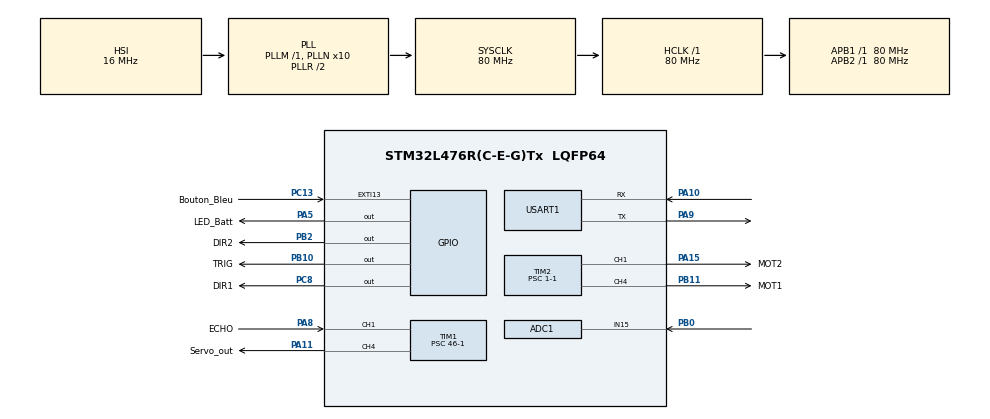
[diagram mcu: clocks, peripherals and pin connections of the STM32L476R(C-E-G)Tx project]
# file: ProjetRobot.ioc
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ADC1.AWD1HighThreshold=3723
ADC1.AWD1ITMode=ENABLE
ADC1.Channel-0\#ChannelRegularConversion=ADC_CHANNEL_15
ADC1.EnableAnalogWatchDog1=true
ADC1.NbrOfConversionFlag=1
ADC1.OffsetNumber-0\#ChannelRegularConversion=ADC_OFFSET_NONE
ADC1.Rank-0\#ChannelRegularConversion=1
ADC1.SamplingTime-0\#ChannelRegularConversion=ADC_SAMPLETIME_2CYCLES_5
ADC1.WatchdogChannel=ADC_CHANNEL_15
ADC1.master=1
Mcu.Family=STM32L4
Mcu.Name=STM32L476R(C-E-G)Tx
Mcu.Package=LQFP64
NVIC.ADC1_2_IRQn=true\:0\:0\:false\:false\:true\:true\:true\:true
NVIC.EXTI15_10_IRQn=true\:0\:0\:false\:false\:true\:true\:true\:true
NVIC.PriorityGroup=NVIC_PRIORITYGROUP_4
NVIC.TIM1_CC_IRQn=true\:0\:0\:false\:false\:true\:true\:true\:true
NVIC.TIM5_IRQn=true\:0\:0\:false\:false\:true\:true\:true\:true
NVIC.TIM6_DAC_IRQn=true\:0\:0\:false\:false\:true\:true\:true\:true
NVIC.TIM7_IRQn=true\:0\:0\:false\:false\:true\:true\:true\:true
NVIC.USART1_IRQn=true\:0\:0\:false\:false\:true\:true\:true\:true
PA10.Mode=Asynchronous
PA10.Signal=USART1_RX
PA11.GPIO_Label=Servo_out
PA11.Signal=S_TIM1_CH4
PA13\ (JTMS-SWDIO).GPIO_Label=TMS
PA13\ (JTMS-SWDIO).Mode=Serial_Wire
PA13\ (JTMS-SWDIO).Signal=SYS_JTMS-SWDIO
PA14\ (JTCK-SWCLK).GPIO_Label=TCK
PA14\ (JTCK-SWCLK).Mode=Serial_Wire
PA14\ (JTCK-SWCLK).Signal=SYS_JTCK-SWCLK
PA15\ (JTDI).GPIO_Label=MOT2
PA15\ (JTDI).Signal=S_TIM2_CH1
PA5.GPIO_Label=LED_Batt
PA5.Signal=GPIO_Output
PA8.GPIO_Label=ECHO
PA8.Signal=S_TIM1_CH1
PA9.Mode=Asynchronous
PA9.Signal=USART1_TX
PB0.Signal=ADCx_IN15
PB10.GPIO_Label=TRIG
PB10.Signal=GPIO_Output
PB11.GPIO_Label=MOT1
PB11.Signal=S_TIM2_CH4
PB15.GPIO_Label=Tension_Batt
PB15.Signal=GPXTI15
PB2.GPIO_Label=DIR2
PB2.Signal=GPIO_Output
PB3\ (JTDO-TRACESWO).GPIO_Label=SWO
PB3\ (JTDO-TRACESWO).Signal=SYS_JTDO-SWO
PC13.GPIO_Label=Bouton_Bleu
PC13.Signal=GPXTI13
PC14-OSC32_IN\ (PC14).Mode=LSE-External-Oscillator
PC14-OSC32_IN\ (PC14).Signal=RCC_OSC32_IN
PC15-OSC32_OUT\ (PC15).Mode=LSE-External-Oscillator
PC15-OSC32_OUT\ (PC15).Signal=RCC_OSC32_OUT
PC8.GPIO_Label=DIR1
PC8.Signal=GPIO_Output
ProjectManager.HeapSize=0x200
ProjectManager.StackSize=0x400
ProjectManager.TargetToolchain=STM32CubeIDE
RCC.ADCFreq_Value=64000000
RCC.AHBFreq_Value=80000000
RCC.APB1Freq_Value=80000000
RCC.APB1TimFreq_Value=80000000
RCC.APB2Freq_Value=80000000
RCC.APB2TimFreq_Value=80000000
RCC.CortexFreq_Value=80000000
RCC.HCLKFreq_Value=80000000
RCC.HSE_VALUE=8000000
RCC.HSI_VALUE=16000000
RCC.MSI_VALUE=4000000
RCC.PLLN=10
RCC.PLLSourceVirtual=RCC_PLLSOURCE_HSI
RCC.PREFETCH_ENABLE=1
RCC.SYSCLKFreq_VALUE=80000000
RCC.SYSCLKSource=RCC_SYSCLKSOURCE_PLLCLK
RCC.USBFreq_Value=64000000
RCC.VCOOutputFreq_Value=160000000
SH.ADCx_IN15.0=ADC1_IN15,IN15-Single-Ended
SH.S_TIM1_CH1.0=TIM1_CH1,PWM_Input_1
SH.S_TIM1_CH4.0=TIM1_CH4,PWM Generation4 CH4
SH.S_TIM2_CH1.0=TIM2_CH1,PWM Generation1 CH1
SH.S_TIM2_CH4.0=TIM2_CH4,PWM Generation4 CH4
TIM1.Channel-PWM\ Generation4\ CH4=TIM_CHANNEL_4
TIM1.Period=0xFFFF
TIM1.Prescaler=46-1
TIM2.Channel-PWM\ Generation1\ CH1=TIM_CHANNEL_1
TIM2.Channel-PWM\ Generation4\ CH4=TIM_CHANNEL_4
TIM2.Period=20000
TIM2.Prescaler=1-1
TIM5.Period=999
TIM5.Prescaler=8000-1
TIM7.Period=40000
TIM7.Prescaler=2-1
USART1.VirtualMode-Asynchronous=VM_ASYNC
VP_TIM1_VS_ClockSourceINT.Mode=Internal
VP_TIM2_VS_ClockSourceINT.Mode=Internal
VP_TIM5_VS_ClockSourceINT.Mode=Internal
VP_TIM6_VS_ClockSourceINT.Mode=Enable_Timer
VP_TIM7_VS_ClockSourceINT.Mode=Enable_Timer
board=NUCLEO-L476RG

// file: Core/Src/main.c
/* USER CODE BEGIN Header */
/**
  ******************************************************************************
  * @file           : main.c
  * @brief          : Main program body
  ******************************************************************************
  * @attention
  *
  * Copyright (c) 2024 STMicroelectronics.
  * All rights reserved.
  *
  * This software is licensed under terms that can be found in the LICENSE file
  * in the root directory of this software component.
  * If no LICENSE file comes with this software, it is provided AS-IS.
  *
  ******************************************************************************
  */
/* USER CODE END Header */
#include "main.h"

/* USER CODE BEGIN Includes */
#include "math.h"
#include "stdlib.h"
/* USER CODE END Includes */

/* USER CODE BEGIN PTD */
typedef enum {
    ETAT_ATTENTE,
    ETAT_BALAYAGE,
    ETAT_CALIBRAGE,
    ETAT_AVANCER,
    ETAT_ARRET
} Etat;
/* USER CODE END PTD */

/* USER CODE BEGIN PD */
#define DEBOUNCE_DELAY 200
/* USER CODE END PD */

ADC_HandleTypeDef hadc1;

TIM_HandleTypeDef htim1;
TIM_HandleTypeDef htim2;
TIM_HandleTypeDef htim5;
TIM_HandleTypeDef htim6;
TIM_HandleTypeDef htim7;

UART_HandleTypeDef huart1;

/* USER CODE BEGIN PV */
int balayage; // permet de faire le balayage du sonar
int x;
int y;
int y_min;
int calibrage; // permet de faire le calibrage roues / sonar
int c_calib = 0; // Compteur de périodes pour le calibrage des roues
int avance;
Etat etat_actuel = ETAT_ATTENTE;
uint32_t distance ;
uint32_t distance_min = 1000;
uint32_t valeur_sonar;
uint32_t pulse_length;
uint32_t T_Batt = 0;
volatile uint8_t Start_value = 0;
int debounce_flag;
int debounce_time;
uint16_t V_batt;
/* USER CODE END PV */

void SystemClock_Config(void);
static void MX_GPIO_Init(void);
static void MX_TIM2_Init(void);
static void MX_TIM1_Init(void);
static void MX_TIM5_Init(void);
static void MX_ADC1_Init(void);
static void MX_TIM6_Init(void);
static void MX_TIM7_Init(void);
static void MX_USART1_UART_Init(void);
/* USER CODE BEGIN PFP */
void SetServoPosition(TIM_HandleTypeDef *htim, uint32_t Channel, int angle);
void Tourner(char direction);
void CommandeMoteur(int percent);
void Avancer(int percent);
int PtToDeg(int x);
void GererEtat();
void check_button_state();
/* USER CODE END PFP */

int main(void)
{

  /* MCU Configuration--------------------------------------------------------*/

  /* Reset of all peripherals, Initializes the Flash interface and the Systick. */
  HAL_Init();

  /* Configure the system clock */
  SystemClock_Config();

  /* Initialize all configured peripherals */
  MX_GPIO_Init();
  MX_TIM2_Init();
  MX_TIM1_Init();
  MX_TIM5_Init();
  MX_ADC1_Init();
  MX_TIM6_Init();
  MX_TIM7_Init();
  MX_USART1_UART_Init();
  /* USER CODE BEGIN 2 */
  balayage = 0;
  calibrage = 0;
  avance = 0;
  x = 1703;

  // Pour le SONAR
  HAL_TIM_Base_Start_IT(&htim1);
  HAL_TIM_IC_Start_IT(&htim1, TIM_CHANNEL_2); // Reception
  HAL_GPIO_WritePin(TRIG_GPIO_Port, TRIG_Pin , GPIO_PIN_SET); //Emission du SONAR
  HAL_TIM_PWM_Start(&htim1, TIM_CHANNEL_4); // Servomoteur

  // On remet le servo moteur à 0°
  __HAL_TIM_SET_COMPARE(&htim1, TIM_CHANNEL_4, 2556);

  CommandeMoteur(0);

  // Pour les chenilles
  HAL_TIM_Base_Start(&htim2);
  HAL_TIM_PWM_Start(&htim2, TIM_CHANNEL_1);
  HAL_TIM_PWM_Start(&htim2, TIM_CHANNEL_4);

  //Pour le balayage
  HAL_TIM_Base_Start_IT(&htim5);

  //Pour le calibrage
  HAL_TIM_Base_Start_IT(&htim7);

  /* USER CODE END 2 */

  /* Infinite loop */
  /* USER CODE BEGIN WHILE */
	while (1)
	{
	   if (Start_value){
		   if (T_Batt >= 500){
			   HAL_GPIO_WritePin(LED_Batt_GPIO_Port, LED_Batt_Pin, GPIO_PIN_RESET);
			   HAL_ADC_Start(&hadc1);
			   HAL_ADC_PollForConversion(&hadc1, HAL_MAX_DELAY);
			   V_batt = (HAL_ADC_GetValue(&hadc1)*3.3)/4095;
			   T_Batt = 0;

		   }
		else{
			CommandeMoteur(0);
		}
		GererEtat();

	   }
    /* USER CODE END WHILE */

	}
}

void SystemClock_Config(void)
{
  RCC_OscInitTypeDef RCC_OscInitStruct = {0};
  RCC_ClkInitTypeDef RCC_ClkInitStruct = {0};

  /** Configure the main internal regulator output voltage
  */
  if (HAL_PWREx_ControlVoltageScaling(PWR_REGULATOR_VOLTAGE_SCALE1) != HAL_OK)
  {
    Error_Handler();
  }

  /** Initializes the RCC Oscillators according to the specified parameters
  * in the RCC_OscInitTypeDef structure.
  */
  RCC_OscInitStruct.OscillatorType = RCC_OSCILLATORTYPE_HSI;
  RCC_OscInitStruct.HSIState = RCC_HSI_ON;
  RCC_OscInitStruct.HSICalibrationValue = RCC_HSICALIBRATION_DEFAULT;
  RCC_OscInitStruct.PLL.PLLState = RCC_PLL_ON;
  RCC_OscInitStruct.PLL.PLLSource = RCC_PLLSOURCE_HSI;
  RCC_OscInitStruct.PLL.PLLM = 1;
  RCC_OscInitStruct.PLL.PLLN = 10;
  RCC_OscInitStruct.PLL.PLLP = RCC_PLLP_DIV7;
  RCC_OscInitStruct.PLL.PLLQ = RCC_PLLQ_DIV2;
  RCC_OscInitStruct.PLL.PLLR = RCC_PLLR_DIV2;
  if (HAL_RCC_OscConfig(&RCC_OscInitStruct) != HAL_OK)
  {
    Error_Handler();
  }

  /** Initializes the CPU, AHB and APB buses clocks
  */
  RCC_ClkInitStruct.ClockType = RCC_CLOCKTYPE_HCLK|RCC_CLOCKTYPE_SYSCLK
                              |RCC_CLOCKTYPE_PCLK1|RCC_CLOCKTYPE_PCLK2;
  RCC_ClkInitStruct.SYSCLKSource = RCC_SYSCLKSOURCE_PLLCLK;
  RCC_ClkInitStruct.AHBCLKDivider = RCC_SYSCLK_DIV1;
  RCC_ClkInitStruct.APB1CLKDivider = RCC_HCLK_DIV1;
  RCC_ClkInitStruct.APB2CLKDivider = RCC_HCLK_DIV1;

  if (HAL_RCC_ClockConfig(&RCC_ClkInitStruct, FLASH_LATENCY_4) != HAL_OK)
  {
    Error_Handler();
  }
}

static void MX_ADC1_Init(void)
{

  ADC_MultiModeTypeDef multimode = {0};
  ADC_AnalogWDGConfTypeDef AnalogWDGConfig = {0};
  ADC_ChannelConfTypeDef sConfig = {0};

  /** Common config
  */
  hadc1.Instance = ADC1;
  hadc1.Init.ClockPrescaler = ADC_CLOCK_ASYNC_DIV1;
  hadc1.Init.Resolution = ADC_RESOLUTION_12B;
  hadc1.Init.DataAlign = ADC_DATAALIGN_RIGHT;
  hadc1.Init.ScanConvMode = ADC_SCAN_DISABLE;
  hadc1.Init.EOCSelection = ADC_EOC_SINGLE_CONV;
  hadc1.Init.LowPowerAutoWait = DISABLE;
  hadc1.Init.ContinuousConvMode = DISABLE;
  hadc1.Init.NbrOfConversion = 1;
  hadc1.Init.DiscontinuousConvMode = DISABLE;
  hadc1.Init.ExternalTrigConv = ADC_SOFTWARE_START;
  hadc1.Init.ExternalTrigConvEdge = ADC_EXTERNALTRIGCONVEDGE_NONE;
  hadc1.Init.DMAContinuousRequests = DISABLE;
  hadc1.Init.Overrun = ADC_OVR_DATA_PRESERVED;
  hadc1.Init.OversamplingMode = DISABLE;
  if (HAL_ADC_Init(&hadc1) != HAL_OK)
  {
    Error_Handler();
  }

  /** Configure the ADC multi-mode
  */
  multimode.Mode = ADC_MODE_INDEPENDENT;
  if (HAL_ADCEx_MultiModeConfigChannel(&hadc1, &multimode) != HAL_OK)
  {
    Error_Handler();
  }

  /** Configure Analog WatchDog 1
  */
  AnalogWDGConfig.WatchdogNumber = ADC_ANALOGWATCHDOG_1;
  AnalogWDGConfig.WatchdogMode = ADC_ANALOGWATCHDOG_SINGLE_REG;
  AnalogWDGConfig.Channel = ADC_CHANNEL_15;
  AnalogWDGConfig.ITMode = ENABLE;
  AnalogWDGConfig.HighThreshold = 3723;
  AnalogWDGConfig.LowThreshold = 0;
  if (HAL_ADC_AnalogWDGConfig(&hadc1, &AnalogWDGConfig) != HAL_OK)
  {
    Error_Handler();
  }

  /** Configure Regular Channel
  */
  sConfig.Channel = ADC_CHANNEL_15;
  sConfig.Rank = ADC_REGULAR_RANK_1;
  sConfig.SamplingTime = ADC_SAMPLETIME_2CYCLES_5;
  sConfig.SingleDiff = ADC_SINGLE_ENDED;
  sConfig.OffsetNumber = ADC_OFFSET_NONE;
  sConfig.Offset = 0;
  if (HAL_ADC_ConfigChannel(&hadc1, &sConfig) != HAL_OK)
  {
    Error_Handler();
  }

}

static void MX_TIM1_Init(void)
{

  TIM_ClockConfigTypeDef sClockSourceConfig = {0};
  TIM_SlaveConfigTypeDef sSlaveConfig = {0};
  TIM_IC_InitTypeDef sConfigIC = {0};
  TIM_MasterConfigTypeDef sMasterConfig = {0};
  TIM_OC_InitTypeDef sConfigOC = {0};
  TIM_BreakDeadTimeConfigTypeDef sBreakDeadTimeConfig = {0};

  htim1.Instance = TIM1;
  htim1.Init.Prescaler = 46-1;
  htim1.Init.CounterMode = TIM_COUNTERMODE_UP;
  htim1.Init.Period = 0xFFFF;
  htim1.Init.ClockDivision = TIM_CLOCKDIVISION_DIV1;
  htim1.Init.RepetitionCounter = 0;
  htim1.Init.AutoReloadPreload = TIM_AUTORELOAD_PRELOAD_DISABLE;
  if (HAL_TIM_Base_Init(&htim1) != HAL_OK)
  {
    Error_Handler();
  }
  sClockSourceConfig.ClockSource = TIM_CLOCKSOURCE_INTERNAL;
  if (HAL_TIM_ConfigClockSource(&htim1, &sClockSourceConfig) != HAL_OK)
  {
    Error_Handler();
  }
  if (HAL_TIM_PWM_Init(&htim1) != HAL_OK)
  {
    Error_Handler();
  }
  if (HAL_TIM_IC_Init(&htim1) != HAL_OK)
  {
    Error_Handler();
  }
  sSlaveConfig.SlaveMode = TIM_SLAVEMODE_RESET;
  sSlaveConfig.InputTrigger = TIM_TS_TI1FP1;
  sSlaveConfig.TriggerPolarity = TIM_INPUTCHANNELPOLARITY_RISING;
  sSlaveConfig.TriggerPrescaler = TIM_ICPSC_DIV1;
  sSlaveConfig.TriggerFilter = 0;
  if (HAL_TIM_SlaveConfigSynchro(&htim1, &sSlaveConfig) != HAL_OK)
  {
    Error_Handler();
  }
  sConfigIC.ICPolarity = TIM_INPUTCHANNELPOLARITY_RISING;
  sConfigIC.ICSelection = TIM_ICSELECTION_DIRECTTI;
  sConfigIC.ICPrescaler = TIM_ICPSC_DIV1;
  sConfigIC.ICFilter = 0;
  if (HAL_TIM_IC_ConfigChannel(&htim1, &sConfigIC, TIM_CHANNEL_1) != HAL_OK)
  {
    Error_Handler();
  }
  sConfigIC.ICPolarity = TIM_INPUTCHANNELPOLARITY_FALLING;
  sConfigIC.ICSelection = TIM_ICSELECTION_INDIRECTTI;
  if (HAL_TIM_IC_ConfigChannel(&htim1, &sConfigIC, TIM_CHANNEL_2) != HAL_OK)
  {
    Error_Handler();
  }
  sMasterConfig.MasterOutputTrigger = TIM_TRGO_RESET;
  sMasterConfig.MasterOutputTrigger2 = TIM_TRGO2_RESET;
  sMasterConfig.MasterSlaveMode = TIM_MASTERSLAVEMODE_DISABLE;
  if (HAL_TIMEx_MasterConfigSynchronization(&htim1, &sMasterConfig) != HAL_OK)
  {
    Error_Handler();
  }
  sConfigOC.OCMode = TIM_OCMODE_PWM1;
  sConfigOC.Pulse = 0;
  sConfigOC.OCPolarity = TIM_OCPOLARITY_HIGH;
  sConfigOC.OCFastMode = TIM_OCFAST_DISABLE;
  sConfigOC.OCIdleState = TIM_OCIDLESTATE_RESET;
  sConfigOC.OCNIdleState = TIM_OCNIDLESTATE_RESET;
  if (HAL_TIM_PWM_ConfigChannel(&htim1, &sConfigOC, TIM_CHANNEL_4) != HAL_OK)
  {
    Error_Handler();
  }
  sBreakDeadTimeConfig.OffStateRunMode = TIM_OSSR_DISABLE;
  sBreakDeadTimeConfig.OffStateIDLEMode = TIM_OSSI_DISABLE;
  sBreakDeadTimeConfig.LockLevel = TIM_LOCKLEVEL_OFF;
  sBreakDeadTimeConfig.DeadTime = 0;
  sBreakDeadTimeConfig.BreakState = TIM_BREAK_DISABLE;
  sBreakDeadTimeConfig.BreakPolarity = TIM_BREAKPOLARITY_HIGH;
  sBreakDeadTimeConfig.BreakFilter = 0;
  sBreakDeadTimeConfig.Break2State = TIM_BREAK2_DISABLE;
  sBreakDeadTimeConfig.Break2Polarity = TIM_BREAK2POLARITY_HIGH;
  sBreakDeadTimeConfig.Break2Filter = 0;
  sBreakDeadTimeConfig.AutomaticOutput = TIM_AUTOMATICOUTPUT_DISABLE;
  if (HAL_TIMEx_ConfigBreakDeadTime(&htim1, &sBreakDeadTimeConfig) != HAL_OK)
  {
    Error_Handler();
  }
  HAL_TIM_MspPostInit(&htim1);

}

static void MX_TIM2_Init(void)
{

  TIM_ClockConfigTypeDef sClockSourceConfig = {0};
  TIM_MasterConfigTypeDef sMasterConfig = {0};
  TIM_OC_InitTypeDef sConfigOC = {0};

  htim2.Instance = TIM2;
  htim2.Init.Prescaler = 1-1;
  htim2.Init.CounterMode = TIM_COUNTERMODE_UP;
  htim2.Init.Period = 20000;
  htim2.Init.ClockDivision = TIM_CLOCKDIVISION_DIV1;
  htim2.Init.AutoReloadPreload = TIM_AUTORELOAD_PRELOAD_DISABLE;
  if (HAL_TIM_Base_Init(&htim2) != HAL_OK)
  {
    Error_Handler();
  }
  sClockSourceConfig.ClockSource = TIM_CLOCKSOURCE_INTERNAL;
  if (HAL_TIM_ConfigClockSource(&htim2, &sClockSourceConfig) != HAL_OK)
  {
    Error_Handler();
  }
  if (HAL_TIM_PWM_Init(&htim2) != HAL_OK)
  {
    Error_Handler();
  }
  sMasterConfig.MasterOutputTrigger = TIM_TRGO_RESET;
  sMasterConfig.MasterSlaveMode = TIM_MASTERSLAVEMODE_DISABLE;
  if (HAL_TIMEx_MasterConfigSynchronization(&htim2, &sMasterConfig) != HAL_OK)
  {
    Error_Handler();
  }
  sConfigOC.OCMode = TIM_OCMODE_PWM1;
  sConfigOC.Pulse = 0;
  sConfigOC.OCPolarity = TIM_OCPOLARITY_HIGH;
  sConfigOC.OCFastMode = TIM_OCFAST_DISABLE;
  if (HAL_TIM_PWM_ConfigChannel(&htim2, &sConfigOC, TIM_CHANNEL_1) != HAL_OK)
  {
    Error_Handler();
  }
  if (HAL_TIM_PWM_ConfigChannel(&htim2, &sConfigOC, TIM_CHANNEL_4) != HAL_OK)
  {
    Error_Handler();
  }
  HAL_TIM_MspPostInit(&htim2);

}

static void MX_TIM5_Init(void)
{

  TIM_ClockConfigTypeDef sClockSourceConfig = {0};
  TIM_MasterConfigTypeDef sMasterConfig = {0};

  htim5.Instance = TIM5;
  htim5.Init.Prescaler = 8000-1;
  htim5.Init.CounterMode = TIM_COUNTERMODE_UP;
  htim5.Init.Period = 999;
  htim5.Init.ClockDivision = TIM_CLOCKDIVISION_DIV1;
  htim5.Init.AutoReloadPreload = TIM_AUTORELOAD_PRELOAD_DISABLE;
  if (HAL_TIM_Base_Init(&htim5) != HAL_OK)
  {
    Error_Handler();
  }
  sClockSourceConfig.ClockSource = TIM_CLOCKSOURCE_INTERNAL;
  if (HAL_TIM_ConfigClockSource(&htim5, &sClockSourceConfig) != HAL_OK)
  {
    Error_Handler();
  }
  sMasterConfig.MasterOutputTrigger = TIM_TRGO_RESET;
  sMasterConfig.MasterSlaveMode = TIM_MASTERSLAVEMODE_DISABLE;
  if (HAL_TIMEx_MasterConfigSynchronization(&htim5, &sMasterConfig) != HAL_OK)
  {
    Error_Handler();
  }

}

static void MX_TIM6_Init(void)
{

  TIM_MasterConfigTypeDef sMasterConfig = {0};

  htim6.Instance = TIM6;
  htim6.Init.Prescaler = 0;
  htim6.Init.CounterMode = TIM_COUNTERMODE_UP;
  htim6.Init.Period = 65535;
  htim6.Init.AutoReloadPreload = TIM_AUTORELOAD_PRELOAD_DISABLE;
  if (HAL_TIM_Base_Init(&htim6) != HAL_OK)
  {
    Error_Handler();
  }
  sMasterConfig.MasterOutputTrigger = TIM_TRGO_RESET;
  sMasterConfig.MasterSlaveMode = TIM_MASTERSLAVEMODE_DISABLE;
  if (HAL_TIMEx_MasterConfigSynchronization(&htim6, &sMasterConfig) != HAL_OK)
  {
    Error_Handler();
  }

}

static void MX_TIM7_Init(void)
{

  TIM_MasterConfigTypeDef sMasterConfig = {0};

  htim7.Instance = TIM7;
  htim7.Init.Prescaler = 2-1;
  htim7.Init.CounterMode = TIM_COUNTERMODE_UP;
  htim7.Init.Period = 40000;
  htim7.Init.AutoReloadPreload = TIM_AUTORELOAD_PRELOAD_DISABLE;
  if (HAL_TIM_Base_Init(&htim7) != HAL_OK)
  {
    Error_Handler();
  }
  sMasterConfig.MasterOutputTrigger = TIM_TRGO_RESET;
  sMasterConfig.MasterSlaveMode = TIM_MASTERSLAVEMODE_DISABLE;
  if (HAL_TIMEx_MasterConfigSynchronization(&htim7, &sMasterConfig) != HAL_OK)
  {
    Error_Handler();
  }

}

static void MX_USART1_UART_Init(void)
{

  huart1.Instance = USART1;
  huart1.Init.BaudRate = 115200;
  huart1.Init.WordLength = UART_WORDLENGTH_8B;
  huart1.Init.StopBits = UART_STOPBITS_1;
  huart1.Init.Parity = UART_PARITY_NONE;
  huart1.Init.Mode = UART_MODE_TX_RX;
  huart1.Init.HwFlowCtl = UART_HWCONTROL_NONE;
  huart1.Init.OverSampling = UART_OVERSAMPLING_16;
  huart1.Init.OneBitSampling = UART_ONE_BIT_SAMPLE_DISABLE;
  huart1.AdvancedInit.AdvFeatureInit = UART_ADVFEATURE_NO_INIT;
  if (HAL_UART_Init(&huart1) != HAL_OK)
  {
    Error_Handler();
  }

}

static void MX_GPIO_Init(void)
{
  GPIO_InitTypeDef GPIO_InitStruct = {0};

  /* GPIO Ports Clock Enable */
  __HAL_RCC_GPIOC_CLK_ENABLE();
  __HAL_RCC_GPIOA_CLK_ENABLE();
  __HAL_RCC_GPIOB_CLK_ENABLE();

  /*Configure GPIO pin Output Level */
  HAL_GPIO_WritePin(LED_Batt_GPIO_Port, LED_Batt_Pin, GPIO_PIN_RESET);

  /*Configure GPIO pin Output Level */
  HAL_GPIO_WritePin(GPIOB, DIR2_Pin|TRIG_Pin, GPIO_PIN_RESET);

  /*Configure GPIO pin Output Level */
  HAL_GPIO_WritePin(DIR1_GPIO_Port, DIR1_Pin, GPIO_PIN_RESET);

  /*Configure GPIO pin : Bouton_Bleu_Pin */
  GPIO_InitStruct.Pin = Bouton_Bleu_Pin;
  GPIO_InitStruct.Mode = GPIO_MODE_IT_RISING;
  GPIO_InitStruct.Pull = GPIO_NOPULL;
  HAL_GPIO_Init(Bouton_Bleu_GPIO_Port, &GPIO_InitStruct);

  /*Configure GPIO pin : LED_Batt_Pin */
  GPIO_InitStruct.Pin = LED_Batt_Pin;
  GPIO_InitStruct.Mode = GPIO_MODE_OUTPUT_PP;
  GPIO_InitStruct.Pull = GPIO_NOPULL;
  GPIO_InitStruct.Speed = GPIO_SPEED_FREQ_LOW;
  HAL_GPIO_Init(LED_Batt_GPIO_Port, &GPIO_InitStruct);

  /*Configure GPIO pins : DIR2_Pin TRIG_Pin */
  GPIO_InitStruct.Pin = DIR2_Pin|TRIG_Pin;
  GPIO_InitStruct.Mode = GPIO_MODE_OUTPUT_PP;
  GPIO_InitStruct.Pull = GPIO_NOPULL;
  GPIO_InitStruct.Speed = GPIO_SPEED_FREQ_LOW;
  HAL_GPIO_Init(GPIOB, &GPIO_InitStruct);

  /*Configure GPIO pin : Tension_Batt_Pin */
  GPIO_InitStruct.Pin = Tension_Batt_Pin;
  GPIO_InitStruct.Mode = GPIO_MODE_IT_RISING;
  GPIO_InitStruct.Pull = GPIO_NOPULL;
  HAL_GPIO_Init(Tension_Batt_GPIO_Port, &GPIO_InitStruct);

  /*Configure GPIO pin : DIR1_Pin */
  GPIO_InitStruct.Pin = DIR1_Pin;
  GPIO_InitStruct.Mode = GPIO_MODE_OUTPUT_PP;
  GPIO_InitStruct.Pull = GPIO_NOPULL;
  GPIO_InitStruct.Speed = GPIO_SPEED_FREQ_LOW;
  HAL_GPIO_Init(DIR1_GPIO_Port, &GPIO_InitStruct);

  /* EXTI interrupt init*/
  HAL_NVIC_SetPriority(EXTI15_10_IRQn, 0, 0);
  HAL_NVIC_EnableIRQ(EXTI15_10_IRQn);

}

/* USER CODE BEGIN 4 */

void Tourner(char direction) {
    if (direction == 'D' || direction == 'd') {
        // Direction droite
        HAL_GPIO_WritePin(DIR1_GPIO_Port, DIR1_Pin, GPIO_PIN_RESET);
        HAL_GPIO_WritePin(DIR2_GPIO_Port, DIR2_Pin, GPIO_PIN_SET);
    } else if (direction == 'G' || direction == 'g') {
        // Direction gauche
        HAL_GPIO_WritePin(DIR1_GPIO_Port, DIR1_Pin, GPIO_PIN_SET);
        HAL_GPIO_WritePin(DIR2_GPIO_Port, DIR2_Pin, GPIO_PIN_RESET);
    } else {
        // Direction non reconnue, vous pouvez ajouter une gestion d'erreur ici
        return;
    }
}

void CommandeMoteur(int percent) {
    if (percent < 0 || percent > 100) {
        // Pourcentage invalide, on peut mettre une gestion d'erreur ici
        return;
    }

    // Calcul du rapport cyclique numérique (CCPR)
    uint32_t ccr_value = (htim2.Init.Period + 1) * percent / 100;

    // Mettre à jour les registres CCR des canaux PWM des moteurs gauche et droit
    __HAL_TIM_SET_COMPARE(&htim2, TIM_CHANNEL_1, ccr_value);
    __HAL_TIM_SET_COMPARE(&htim2, TIM_CHANNEL_4, ccr_value);
}

void Avancer(int percent) {
    // Mettre les broches DIRD et DIRG à 0 pour avancer
    HAL_GPIO_WritePin(DIR1_GPIO_Port, DIR1_Pin, GPIO_PIN_SET);
    HAL_GPIO_WritePin(DIR2_GPIO_Port, DIR2_Pin, GPIO_PIN_SET);

    // Commande du moteur avec le pourcentage donné
    CommandeMoteur(percent);
}

int PtToDeg(int x){
	return ((int) (x-2556)/18.93);
}

// Fonction principale pour gérer les états
void GererEtat() {
    switch (etat_actuel) {
        case ETAT_ATTENTE:
            // Logique pour l'état d'attente
        	if (Start_value){
        		etat_actuel = ETAT_BALAYAGE;
        	}
            break;

        case ETAT_BALAYAGE:
            // Logique pour l'état de balayage
        	if (Start_value){
				balayage = 1; // Activer le balayage
				if (x >= 3408 && distance_min < 160) { //Balayage terminé
					balayage = 0;
					etat_actuel = ETAT_CALIBRAGE;
				}
        	}
            break;

        case ETAT_CALIBRAGE:
        	if (Start_value) {
        		calibrage = 1;
				if (c_calib >= round((4.01857/(360*0.001))*abs(y))) { // Le calibrage est terminé
					calibrage = 0;
					etat_actuel = ETAT_AVANCER;
				}
        	}
            break;

        case ETAT_AVANCER:
            // Logique pour l'état d'avancer
        	if (Start_value){
				x = 1703; // On réinitialise la valeur du SONAR
				avance = 1;
				if (distance > 160) {
					avance = 0;
					x = 1703; // On réinitialise la valeur du SONAR
					CommandeMoteur(0); // On arrête d'avancer
					etat_actuel = ETAT_BALAYAGE;
				}
				if (distance <= 20) {
					avance = 0;
					etat_actuel = ETAT_ARRET;
				}
        	}
            break;

        case ETAT_ARRET:
            // Logique pour l'état d'arrêt
        	if (Start_value){
        		CommandeMoteur(0);
				// distance inférieur à 5 permet de debugger le robot (Dès fois il calcule la distance à 2cm)
				if (distance >= 22){
					etat_actuel = ETAT_ATTENTE;
				}
        	}
            break;
    }
}

void check_button_state()
{
    if (debounce_flag == 1 && (HAL_GetTick() - debounce_time) > DEBOUNCE_DELAY)
    {
        debounce_flag = 0;
    }
}

void HAL_GPIO_EXTI_Callback(uint16_t GPIO_Pin)
{
  if(GPIO_Pin == Bouton_Bleu_Pin && debounce_flag == 0)
  {
      debounce_flag = 1;
      debounce_time = HAL_GetTick();
  }

  if (GPIO_Pin == Bouton_Bleu_Pin)
  {
      if (HAL_GPIO_ReadPin(Bouton_Bleu_GPIO_Port, Bouton_Bleu_Pin) == GPIO_PIN_SET)
      {
    	  if (Start_value){
				//On remet à l'état initial le robot
    		    etat_actuel = ETAT_ATTENTE;
				CommandeMoteur(0);
				balayage = 0;
				calibrage = 0;
				avance = 0;
				x = 1703;
				// On remet le servo moteur à 0°
				__HAL_TIM_SET_COMPARE(&htim1, TIM_CHANNEL_4, 2556);
    	  }
          Start_value = !Start_value; // Basculer la variable Start_value entre 0 et 1

      }
  }
}

//Timer 5 utilisé pour la Calibration
void HAL_TIM_PeriodElapsedCallback(TIM_HandleTypeDef *htim) {

	if (htim->Instance == TIM5) {
		// On mesure les distances toutes les 100 ms
		if (balayage){
			// Si début de balayage on RAZ la distance mininale
			if (x == 1703){
				distance_min = 1000;
				y_min = 0;
			}

			// Calcul de la distance minimale :
			if (distance_min > distance){
				distance_min = distance;
				y_min = PtToDeg(x);
			}
			//Faire le balayage du servo moteur
			if (x < 3408){
				__HAL_TIM_SET_COMPARE(&htim1, TIM_CHANNEL_4, x);
				x += 50;
			}
			else {
				x = 1703;
				balayage = 0;
			}
			// On calcule l'angle de la distance mesurée
			y = PtToDeg(x);
		}
	}
	if (htim->Instance == TIM6)
	{
		T_Batt ++;
	}
	if (htim->Instance == TIM7){
		if (calibrage) {
				    // Code de calibrage des roues

					// On remet le servo moteur à 0°
					__HAL_TIM_SET_COMPARE(&htim1, TIM_CHANNEL_4, 2556);
					CommandeMoteur(0);

					// On calibre les roues en fonction du précédent angle du servo (minimal)
					if (y_min < 0) {
						// Tourner à droite
						CommandeMoteur(100);
						Tourner('d');
					}
					else if (y_min > 0) {
						// Tourner à gauche
						CommandeMoteur(100);
						Tourner('g');
					}
					c_calib++;
				}

		else {
			CommandeMoteur(0);
			c_calib = 0;

		}

		if (avance){
			// ON RAZ la dist min
			distance_min = 1000;
			y_min = 0;
			Avancer(66); // Vitesse d'environ 20cm/s
		}
	}
}

void HAL_TIM_IC_CaptureCallback(TIM_HandleTypeDef *htim)
{
	if(htim->Channel == HAL_TIM_ACTIVE_CHANNEL_2){

		valeur_sonar = (uint32_t) HAL_TIM_ReadCapturedValue(&htim1, TIM_CHANNEL_2);
		distance =  (uint32_t) valeur_sonar/101;
		}
	}

void HAL_ADC_LevelOutOfWindowCallback(ADC_HandleTypeDef* hadc)
{
  if (hadc->Instance == ADC1)
  {
    // Allumer la LED si le seuil est dépassé
    HAL_GPIO_WritePin(LED_Batt_GPIO_Port, LED_Batt_Pin, GPIO_PIN_SET);
  }
}

/* USER CODE END 4 */

void Error_Handler(void)
{
  __disable_irq();
  while (1)
  {
  }
}
